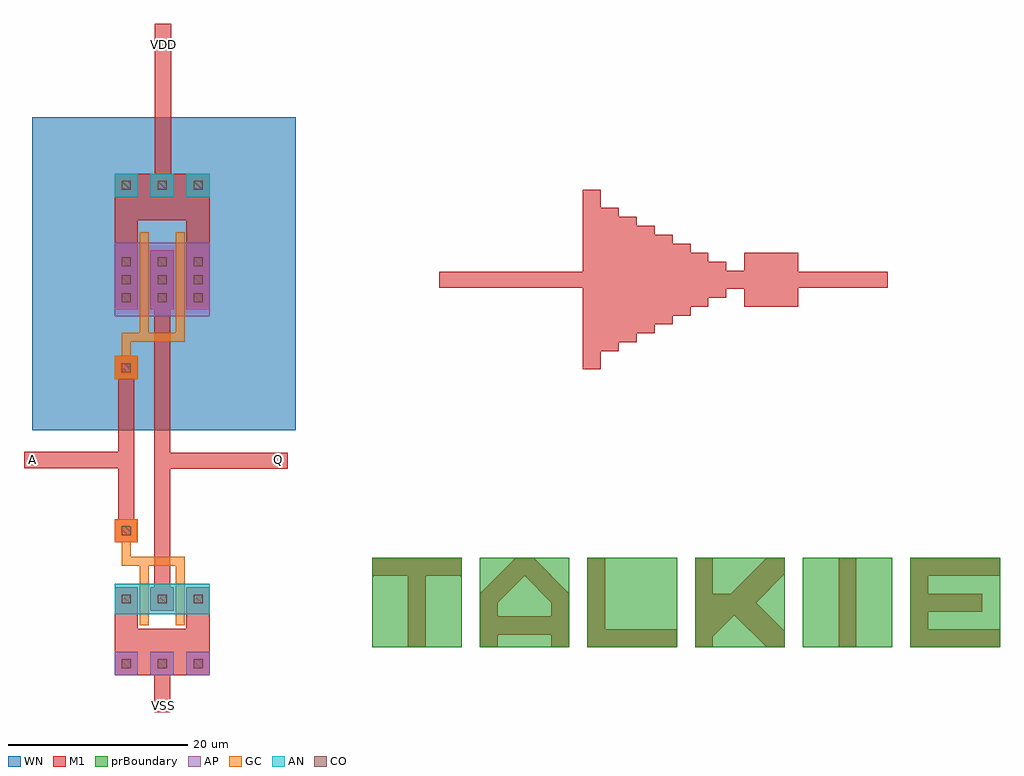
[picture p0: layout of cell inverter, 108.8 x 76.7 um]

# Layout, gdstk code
import gdstk
lib = gdstk.Library(unit=1e-6, precision=1e-07)
def R(c, l, rs):  # rectangles x0, y0, x1, y1
    for r in rs: c.add(gdstk.rectangle(r[:2], r[2:], *l))
def A(c, l, x, y, w, h, nx, ny, dx, dy):  # array of equal rectangles
    R(c, l, [(x+i*dx, y+j*dy, x+i*dx+w, y+j*dy+h) for i in range(nx) for j in range(ny)])
def P(c, l, *ps):  # polygons
    for p in ps: c.add(gdstk.Polygon(p, *l))
AP = (3, 1)
AN = (3, 2)
GC = (8, 1)
CO = (11, 0)
M1 = (13, 0)
WN = (140, 0)
prBoundary = (235, 0)

fet_p = lib.new_cell('fet_p')
R(fet_p, AP, [(-5.3,-4.1,5.3,4.1)])
A(fet_p, CO, -4.5, -2.5, 1, 1, 3, 3, 4, 2)
A(fet_p, M1, -5.3, -3.3, 2.6, 6.6, 3, 1, 4, 0)
fet_p.add(gdstk.FlexPath([(2,-5.3),(2,5.3)], 1, ends="flush", simple_path=True, layer=8, datatype=1))  # GC
fet_p.add(gdstk.FlexPath([(-2,-5.3),(-2,5.3)], 1, ends="flush", simple_path=True, layer=8, datatype=1))  # GC

c_t = lib.new_cell('T')
P(c_t, M1, [(4,0),(4,8),(0,8),(0,10),(10,10),(10,8),(6,8),(6,0)])
R(c_t, prBoundary, [(0,0,10,10)])

cont_g = lib.new_cell('cont_g')
R(cont_g, GC, [(-1.3,-1.3,1.3,1.3)])
R(cont_g, CO, [(-0.5,-0.5,0.5,0.5)])
R(cont_g, M1, [(-1.3,-1.3,1.3,1.3)])

fet_n = lib.new_cell('fet_n')
R(fet_n, AN, [(-5.3,-1.7,5.3,1.7)])
A(fet_n, CO, -4.5, -0.5, 1, 1, 3, 1, 4, 0)
A(fet_n, M1, -5.3, -1.3, 2.6, 2.6, 3, 1, 4, 0)
fet_n.add(gdstk.FlexPath([(2,-2.9),(2,2.9)], 1, ends="flush", simple_path=True, layer=8, datatype=1))  # GC
fet_n.add(gdstk.FlexPath([(-2,-2.9),(-2,2.9)], 1, ends="flush", simple_path=True, layer=8, datatype=1))  # GC

cont_n = lib.new_cell('cont_n')
R(cont_n, AN, [(-1.3,-1.3,1.3,1.3)])
R(cont_n, CO, [(-0.5,-0.5,0.5,0.5)])
R(cont_n, M1, [(-1.3,-1.3,1.3,1.3)])

cont_p = lib.new_cell('cont_p')
R(cont_p, AP, [(-1.3,-1.3,1.3,1.3)])
R(cont_p, CO, [(-0.5,-0.5,0.5,0.5)])
R(cont_p, M1, [(-1.3,-1.3,1.3,1.3)])

c_a = lib.new_cell('A')
P(c_a, M1, [(0,0),(0,6),(4,10),(6,10),(10,6),(10,0),(8,0),(8,5),(5,8),(2,5),(2,3.5),(8,3.5),(8,1.4),(2,1.4),(2,0)])
R(c_a, prBoundary, [(0,0,10,10)])

c_l = lib.new_cell('L')
P(c_l, M1, [(0,0),(0,10),(2,10),(2,2),(10,2),(10,0)])
R(c_l, prBoundary, [(0,0,10,10)])

c_k = lib.new_cell('K')
P(c_k, M1, [(0,0),(0,10),(2,10),(2,6),(4,6),(8,10),(10,10),(10,8.2),(6.8,5),(10,1.8),(10,0),(8,0),(4.4,3.6),(2,1.2),(2,0)])
R(c_k, prBoundary, [(0,0,10,10)])

c_i = lib.new_cell('I')
R(c_i, M1, [(4,0,6,10)])
R(c_i, prBoundary, [(0,0,10,10)])

c_e = lib.new_cell('E')
P(c_e, M1, [(0,0),(0,10),(10,10),(10,8),(2,8),(2,6),(8,6),(8,4),(2,4),(2,2),(10,2),(10,0)])
R(c_e, prBoundary, [(0,0,10,10)])

inverter = lib.new_cell('inverter')
A(inverter, M1, 64.9, -3, 2, 6, 3, 1, 2, 0)
R(inverter, M1, [(46.9,-10,48.9,10), (48.9,-8,50.9,8), (50.9,-7,52.9,7), (52.9,-6,54.9,6), (54.9,-5,56.9,5), (56.9,-4,58.9,4), (58.9,-3,60.9,3), (60.9,-2,62.9,2), (62.9,-1,64.9,1), (30.9,-0.9,46.9,0.9), (70.9,-0.9,80.9,0.9)])
R(inverter, WN, [(-14.5,-16.8,14.9,18.1)])
inverter.add(gdstk.FlexPath([(2,-5.1),(2,-6.4),(-2,-6.4),(-2,-5),(-2,-5),(-2,-5)], 1, ends="flush", simple_path=True, layer=8, datatype=1))  # GC
inverter.add(gdstk.FlexPath([(2,-32.9),(2,-31.4),(-2,-31.4),(-2,-32.9)], 1, ends="flush", simple_path=True, layer=8, datatype=1))  # GC
inverter.add(gdstk.FlexPath([(-4,-28.8),(-4,-31.4),(-1.8,-31.4)], 1, ends="flush", simple_path=True, layer=8, datatype=1))  # GC
inverter.add(gdstk.FlexPath([(-4,-8.8),(-4,-6.4),(-1.9,-6.4)], 1, ends="flush", simple_path=True, layer=8, datatype=1))  # GC
inverter.add(gdstk.FlexPath([(-4,1.9),(-4,7.9),(4,7.9),(4,1.6)], 2.6, ends="flush", simple_path=True, layer=13, datatype=0))  # M1
inverter.add(gdstk.FlexPath([(-4,-35.6),(-4,-40.2),(4,-40.2),(4,-35.5)], 2.6, ends="flush", simple_path=True, layer=13, datatype=0))  # M1
inverter.add(gdstk.FlexPath([(-4,-42.8),(4,-42.8)], 2.6, ends="flush", simple_path=True, layer=13, datatype=0))  # M1
inverter.add(gdstk.FlexPath([(-4,10.5),(4,10.5),(4,10.5)], 2.6, ends="flush", simple_path=True, layer=13, datatype=0))  # M1
inverter.add(gdstk.FlexPath([(-4,-9.8),(-4,-28.1)], 1.8, ends="flush", simple_path=True, layer=13, datatype=0))  # M1
inverter.add(gdstk.FlexPath([(-0.1,-20.2),(14,-20.2)], 1.8, ends="flush", simple_path=True, layer=13, datatype=0))  # M1
inverter.add(gdstk.FlexPath([(0,-42.8),(0,-48.2)], 1.8, ends="flush", simple_path=True, layer=13, datatype=0))  # M1
inverter.add(gdstk.FlexPath([(0,-35.6),(0,-1.9),(0,-1.9)], 1.8, ends="flush", simple_path=True, layer=13, datatype=0))  # M1
inverter.add(gdstk.FlexPath([(-4,-20.1),(-15.4,-20.1)], 1.8, ends="flush", simple_path=True, layer=13, datatype=0))  # M1
inverter.add(gdstk.FlexPath([(0.1,10.5),(0.1,28.5)], 1.8, ends="flush", simple_path=True, layer=13, datatype=0))  # M1
inverter.add(gdstk.Reference(fet_p, (0,0)))
inverter.add(gdstk.Reference(c_t, (23.4,-41)))
inverter.add(gdstk.Reference(cont_g, (-4,-9.8)))
inverter.add(gdstk.Reference(fet_n, (0,-35.6)))
inverter.add(gdstk.Reference(cont_n, (-4,10.5)))
inverter.add(gdstk.Reference(cont_n, (0,10.5)))
inverter.add(gdstk.Reference(cont_n, (4,10.5)))
inverter.add(gdstk.Reference(cont_g, (-4,-28)))
inverter.add(gdstk.Reference(cont_p, (-4,-42.8)))
inverter.add(gdstk.Reference(cont_p, (0,-42.8)))
inverter.add(gdstk.Reference(cont_p, (4,-42.8)))
inverter.add(gdstk.Reference(c_a, (35.4,-41)))
inverter.add(gdstk.Reference(c_l, (47.4,-41)))
inverter.add(gdstk.Reference(c_k, (59.4,-41)))
inverter.add(gdstk.Reference(c_i, (71.4,-41)))
inverter.add(gdstk.Reference(c_e, (83.4,-41)))
inverter.add(gdstk.Label('VSS', (0.1,-47.5), layer=48, texttype=0))
inverter.add(gdstk.Label('VDD', (0.1,26.2), layer=48, texttype=0))
inverter.add(gdstk.Label('A', (-14.5,-20), layer=48, texttype=0))
inverter.add(gdstk.Label('Q', (13,-20), layer=48, texttype=0))

lib.write_gds('inverter.gds')
